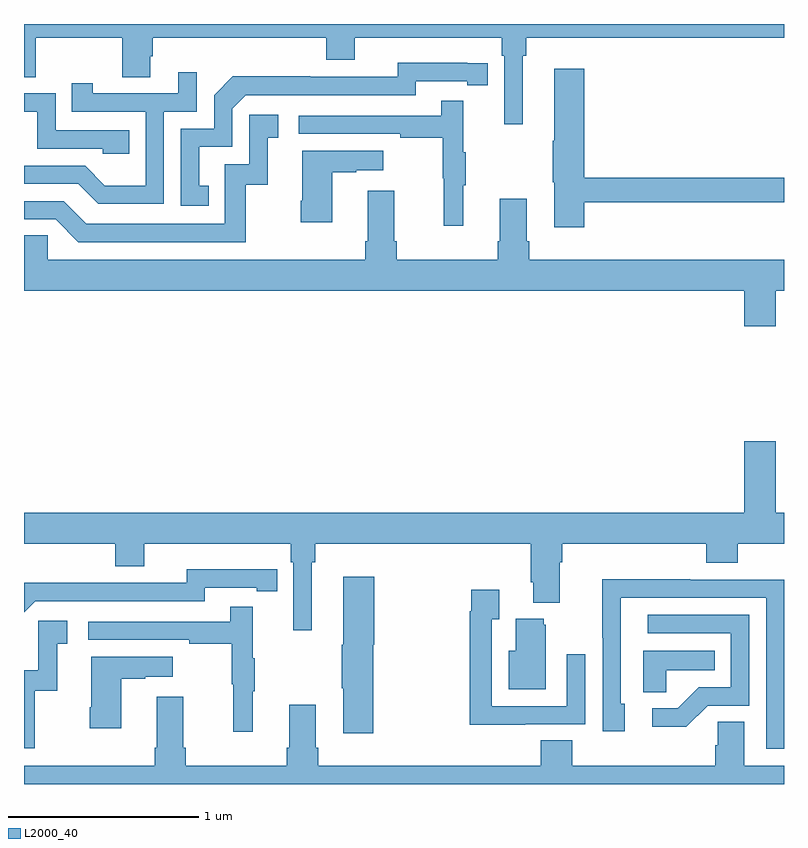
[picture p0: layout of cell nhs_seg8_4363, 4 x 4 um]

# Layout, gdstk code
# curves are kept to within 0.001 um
import gdstk
lib = gdstk.Library(unit=1e-6, precision=1e-09)
def P(c, l, *ps):  # polygons
    for p in ps: c.add(gdstk.Polygon(p, *l))
L2000_40 = (2000, 40)

nhs_seg8_4363 = lib.new_cell('nhs_seg8_4363')
P(nhs_seg8_4363, L2000_40, [(379.624,1121.732),(379.643,1121.732),(379.643,1121.828),(381,1121.828),(381,1121.9),(377,1121.9),(377,1121.62),(377.061,1121.62),(377.061,1121.828),(377.518,1121.828),(377.518,1121.62),(377.665,1121.62),(377.665,1121.73),(377.678,1121.73),(377.678,1121.828),(378.59,1121.828),(378.59,1121.711),(378.742,1121.711),(378.742,1121.828),(379.514,1121.828),(379.514,1121.732),(379.527,1121.732),(379.527,1121.373),(379.624,1121.373)],
  [(377.972,1121.049),(377.923,1121.049),(377.923,1121.253),(378.096,1121.253),(378.096,1121.454),(378.168,1121.526),(379.062,1121.526),(379.062,1121.598),(379.334,1121.598),(379.334,1121.578),(379.442,1121.578),(379.442,1121.694),(378.966,1121.695),(378.966,1121.622),(378.506,1121.622),(378.506,1121.624),(378.098,1121.624),(378,1121.526),(378,1121.349),(377.826,1121.349),(377.826,1120.944),(377.972,1120.944)],
  [(379.949,1120.962),(381,1120.962),(381,1121.09),(379.949,1121.09),(379.949,1121.665),(379.79,1121.665),(379.79,1121.285),(379.783,1121.285),(379.783,1121.067),(379.79,1121.067),(379.79,1120.83),(379.949,1120.83)],
  [(377.736,1121.439),(377.91,1121.439),(377.91,1121.647),(377.813,1121.647),(377.813,1121.535),(377.362,1121.535),(377.362,1121.587),(377.251,1121.587),(377.251,1121.439),(377.64,1121.439),(377.64,1121.05),(377.426,1121.05),(377.322,1121.154),(377,1121.154),(377,1121.058),(377.285,1121.058),(377.39,1120.953),(377.736,1120.953)],
  [(377.555,1121.34),(377.166,1121.34),(377.166,1121.535),(377,1121.535),(377,1121.439),(377.07,1121.439),(377.07,1121.244),(377.415,1121.244),(377.415,1121.217),(377.555,1121.217)],
  [(379.313,1121.051),(379.324,1121.051),(379.324,1121.225),(379.313,1121.225),(379.313,1121.497),(379.195,1121.497),(379.195,1121.418),(378.447,1121.418),(378.447,1121.322),(378.979,1121.322),(378.979,1121.302),(379.203,1121.302),(379.203,1121.088),(379.21,1121.088),(379.21,1120.839),(379.313,1120.839)],
  [(378.166,1121.055),(378.284,1121.055),(378.284,1121.301),(378.337,1121.301),(378.337,1121.422),(378.186,1121.422),(378.186,1121.163),(378.057,1121.163),(378.057,1120.848),(377.328,1120.848),(377.208,1120.968),(377,1120.968),(377,1120.872),(377.166,1120.872),(377.286,1120.752),(378.166,1120.752)],
  [(378.622,1121.119),(378.749,1121.119),(378.749,1121.129),(378.892,1121.129),(378.892,1121.233),(378.464,1121.233),(378.464,1120.969),(378.457,1120.969),(378.457,1120.857),(378.622,1120.857)],
  [(380.956,1120.496),(381,1120.496),(381,1120.66),(379.658,1120.66),(379.658,1120.756),(379.645,1120.756),(379.645,1120.981),(379.505,1120.981),(379.505,1120.756),(379.493,1120.756),(379.493,1120.66),(378.962,1120.66),(378.962,1120.756),(378.949,1120.756),(378.949,1121.023),(378.809,1121.023),(378.809,1120.756),(378.797,1120.756),(378.797,1120.66),(377.124,1120.66),(377.124,1120.787),(377,1120.787),(377,1120.496),(380.792,1120.496),(380.792,1120.308),(380.956,1120.308)],
  [(378.514,1119.068),(378.533,1119.068),(378.533,1119.164),(379.667,1119.164),(379.667,1118.962),(379.679,1118.962),(379.679,1118.855),(379.819,1118.855),(379.819,1119.068),(379.832,1119.068),(379.832,1119.164),(380.591,1119.164),(380.591,1119.065),(380.756,1119.065),(380.756,1119.164),(381,1119.164),(381,1119.328),(380.956,1119.328),(380.956,1119.703),(380.792,1119.703),(380.792,1119.328),(377,1119.328),(377,1119.164),(377.48,1119.164),(377.48,1119.047),(377.632,1119.047),(377.632,1119.164),(378.404,1119.164),(378.404,1119.068),(378.417,1119.068),(378.417,1118.709),(378.514,1118.709)],
  [(377.058,1118.862),(377.952,1118.862),(377.952,1118.934),(378.224,1118.934),(378.224,1118.914),(378.332,1118.914),(378.332,1119.03),(377.856,1119.031),(377.856,1118.958),(377.396,1118.958),(377.396,1118.96),(377,1118.96),(377,1118.804)],
  [(378.839,1118.634),(378.844,1118.634),(378.844,1118.992),(378.68,1118.992),(378.68,1118.634),(378.673,1118.634),(378.673,1118.404),(378.68,1118.404),(378.68,1118.166),(378.839,1118.166)],
  [(381,1118.976),(380.507,1118.976),(380.507,1118.978),(380.044,1118.978),(380.044,1118.671),(380.046,1118.671),(380.046,1118.178),(380.161,1118.178),(380.161,1118.322),(380.142,1118.322),(380.142,1118.88),(380.907,1118.88),(380.907,1118.085),(381,1118.085)],
  [(379.637,1118.214),(379.953,1118.214),(379.953,1118.584),(379.857,1118.584),(379.857,1118.31),(379.461,1118.31),(379.461,1118.767),(379.501,1118.767),(379.501,1118.923),(379.353,1118.923),(379.353,1118.81),(379.345,1118.81),(379.345,1118.213),(379.637,1118.213)],
  [(378.203,1118.387),(378.214,1118.387),(378.214,1118.561),(378.203,1118.561),(378.203,1118.833),(378.085,1118.833),(378.085,1118.754),(377.337,1118.754),(377.337,1118.658),(377.869,1118.658),(377.869,1118.638),(378.093,1118.638),(378.093,1118.424),(378.1,1118.424),(378.1,1118.175),(378.203,1118.175)],
  [(380.598,1118.313),(380.817,1118.313),(380.817,1118.79),(380.283,1118.79),(380.283,1118.694),(380.721,1118.694),(380.721,1118.409),(380.552,1118.409),(380.441,1118.298),(380.307,1118.298),(380.307,1118.201),(380.485,1118.201)],
  [(379.747,1118.739),(379.736,1118.739),(379.736,1118.77),(379.589,1118.77),(379.589,1118.602),(379.55,1118.602),(379.55,1118.399),(379.747,1118.399)],
  [(377.056,1118.391),(377.174,1118.391),(377.174,1118.637),(377.227,1118.637),(377.227,1118.758),(377.076,1118.758),(377.076,1118.499),(377,1118.499),(377,1118.088),(377.056,1118.088)],
  [(380.379,1118.498),(380.636,1118.498),(380.636,1118.602),(380.258,1118.602),(380.258,1118.383),(380.379,1118.383)],
  [(377.512,1118.455),(377.639,1118.455),(377.639,1118.465),(377.782,1118.465),(377.782,1118.569),(377.354,1118.569),(377.354,1118.305),(377.347,1118.305),(377.347,1118.193),(377.512,1118.193)],
  [(381,1117.996),(380.791,1117.996),(380.791,1118.228),(380.652,1118.228),(380.652,1118.105),(380.639,1118.105),(380.639,1117.996),(379.886,1117.996),(379.886,1118.129),(379.721,1118.129),(379.721,1117.996),(378.548,1117.996),(378.548,1118.092),(378.535,1118.092),(378.535,1118.317),(378.395,1118.317),(378.395,1118.092),(378.383,1118.092),(378.383,1117.996),(377.852,1117.996),(377.852,1118.092),(377.839,1118.092),(377.839,1118.359),(377.699,1118.359),(377.699,1118.092),(377.687,1118.092),(377.687,1117.996),(377,1117.996),(377,1117.9),(381,1117.9)])

lib.write_gds('nhs_seg8_4363.gds')
